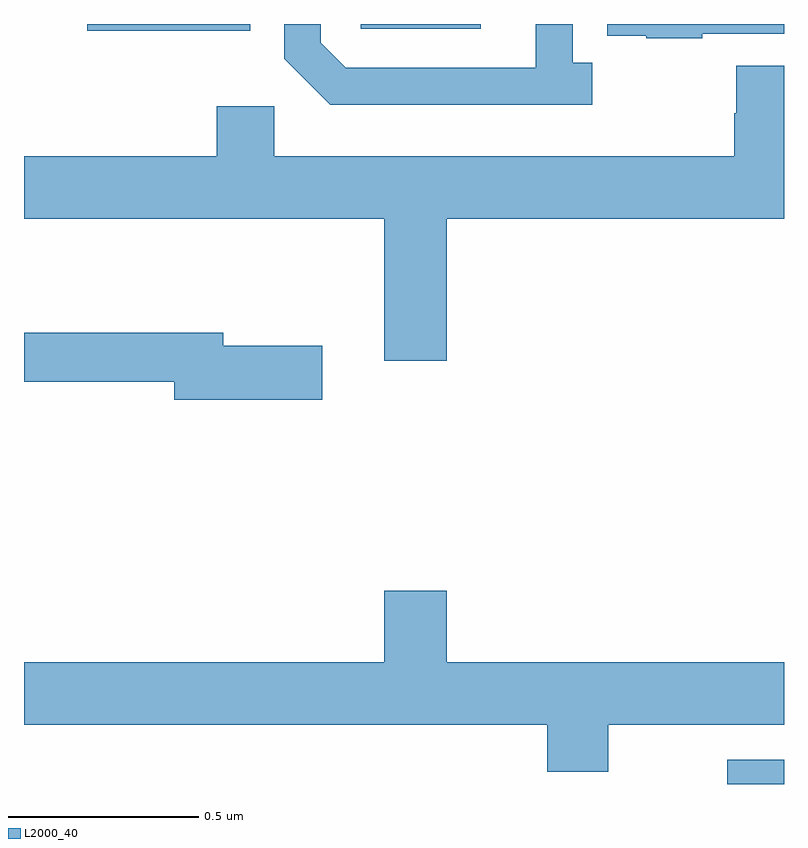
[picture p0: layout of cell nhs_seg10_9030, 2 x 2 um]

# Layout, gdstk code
import gdstk
lib = gdstk.Library(unit=1e-6, precision=1e-09)
def R(c, l, rs):  # rectangles x0, y0, x1, y1
    for r in rs: c.add(gdstk.rectangle(r[:2], r[2:], *l))
def P(c, l, *ps):  # polygons
    for p in ps: c.add(gdstk.Polygon(p, *l))
L2000_40 = (2000, 40)

nhs_seg10_9030 = lib.new_cell('nhs_seg10_9030')
R(nhs_seg10_9030, L2000_40, [(225.851,1293.5,226,1293.564), (224.166,1295.482,224.596,1295.5), (224.886,1295.487,225.202,1295.5)])
P(nhs_seg10_9030, L2000_40, [(225.496,1295.398),(225.444,1295.398),(225.444,1295.5),(225.347,1295.5),(225.347,1295.385),(224.847,1295.385),(224.781,1295.451),(224.781,1295.5),(224.685,1295.5),(224.685,1295.409),(224.806,1295.288),(225.496,1295.288)],
  [(225.785,1295.475),(226,1295.475),(226,1295.5),(225.535,1295.5),(225.535,1295.469),(225.637,1295.469),(225.637,1295.463),(225.785,1295.463)],
  [(225.112,1294.988),(226,1294.988),(226,1295.39),(225.874,1295.39),(225.874,1295.265),(225.869,1295.265),(225.869,1295.152),(224.658,1295.152),(224.658,1295.284),(224.507,1295.284),(224.507,1295.152),(224,1295.152),(224,1294.988),(224.948,1294.988),(224.948,1294.614),(225.112,1294.614)],
  [(224.785,1294.653),(224.524,1294.653),(224.524,1294.687),(224,1294.687),(224,1294.558),(224.396,1294.558),(224.396,1294.511),(224.785,1294.511)],
  [(225.537,1293.656),(226,1293.656),(226,1293.82),(225.112,1293.82),(225.112,1294.009),(224.948,1294.009),(224.948,1293.82),(224,1293.82),(224,1293.656),(225.377,1293.656),(225.377,1293.532),(225.537,1293.532)])

lib.write_gds('nhs_seg10_9030.gds')
